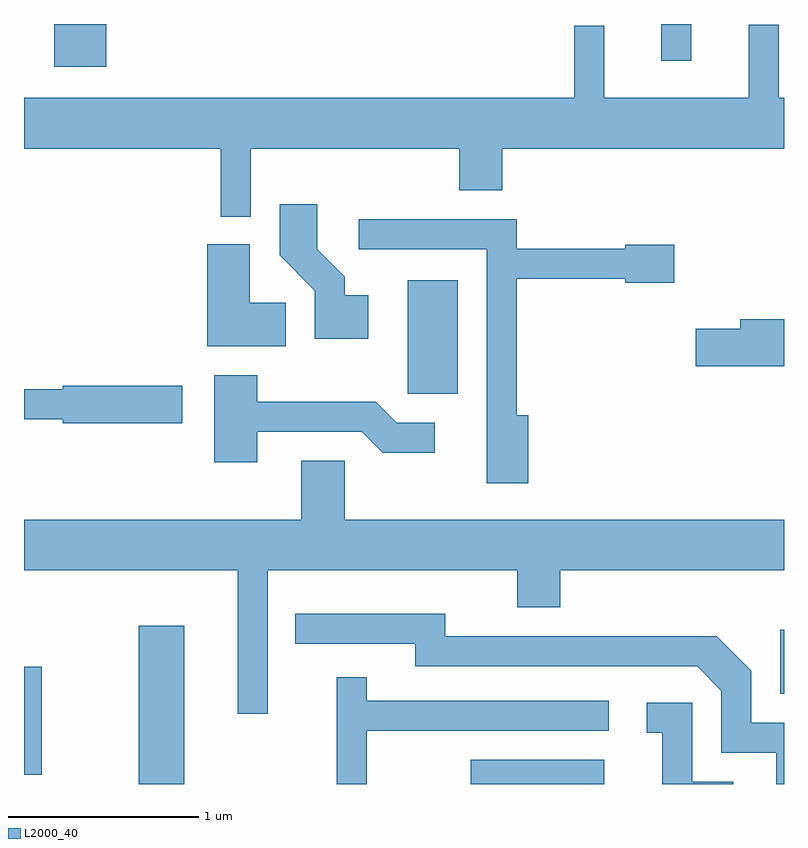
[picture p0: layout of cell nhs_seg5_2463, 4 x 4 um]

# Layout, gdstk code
import gdstk
lib = gdstk.Library(unit=1e-6, precision=1e-09)
def R(c, l, rs):  # rectangles x0, y0, x1, y1
    for r in rs: c.add(gdstk.rectangle(r[:2], r[2:], *l))
def P(c, l, *ps):  # polygons
    for p in ps: c.add(gdstk.Polygon(p, *l))
L2000_40 = (2000, 40)

nhs_seg5_2463 = lib.new_cell('nhs_seg5_2463')
R(nhs_seg5_2463, L2000_40, [(258.216,1500.072,258.454,1500.904), (259.962,1500.072,260.664,1500.199), (257.611,1500.121,257.704,1500.689), (261.591,1500.546,261.611,1500.883), (259.631,1502.126,259.894,1502.724), (257.771,1503.846,258.044,1504.072), (260.966,1503.878,261.124,1504.072)])
P(nhs_seg5_2463, L2000_40, [(258.804,1503.416),(259.901,1503.416),(259.901,1503.196),(260.129,1503.196),(260.129,1503.416),(261.611,1503.416),(261.611,1503.684),(261.584,1503.684),(261.584,1504.068),(261.426,1504.068),(261.426,1503.684),(260.664,1503.684),(260.664,1504.063),(260.506,1504.063),(260.506,1503.684),(257.611,1503.684),(257.611,1503.416),(258.646,1503.416),(258.646,1503.058),(258.804,1503.058)],
  [(259.424,1502.644),(259.299,1502.644),(259.299,1502.742),(259.154,1502.887),(259.154,1503.124),(258.956,1503.124),(258.956,1502.854),(259.141,1502.669),(259.141,1502.416),(259.424,1502.416)],
  [(260.264,1502.014),(260.204,1502.014),(260.204,1502.731),(260.776,1502.731),(260.776,1502.711),(261.034,1502.711),(261.034,1502.909),(260.776,1502.909),(260.776,1502.889),(260.204,1502.889),(260.204,1503.044),(259.373,1503.044),(259.373,1502.886),(260.046,1502.886),(260.046,1501.656),(260.264,1501.656)],
  [(258.989,1502.604),(258.799,1502.604),(258.799,1502.914),(258.576,1502.914),(258.576,1502.376),(258.989,1502.376)],
  [(261.611,1502.519),(261.381,1502.519),(261.381,1502.469),(261.146,1502.469),(261.146,1502.271),(261.611,1502.271)],
  [(258.839,1501.926),(259.389,1501.926),(259.498,1501.816),(259.772,1501.816),(259.772,1501.974),(259.572,1501.974),(259.462,1502.084),(258.839,1502.084),(258.839,1502.224),(258.611,1502.224),(258.611,1501.766),(258.839,1501.766)],
  [(258.444,1502.169),(257.816,1502.169),(257.816,1502.149),(257.611,1502.149),(257.611,1501.991),(257.816,1501.991),(257.816,1501.971),(258.444,1501.971)],
  [(258.894,1501.196),(260.206,1501.196),(260.206,1501.001),(260.434,1501.001),(260.434,1501.196),(261.611,1501.196),(261.611,1501.464),(259.299,1501.464),(259.299,1501.774),(259.071,1501.774),(259.071,1501.464),(257.611,1501.464),(257.611,1501.196),(258.736,1501.196),(258.736,1500.443),(258.894,1500.443)],
  [(261.611,1500.394),(261.439,1500.394),(261.439,1500.667),(261.257,1500.849),(259.829,1500.849),(259.829,1500.969),(259.038,1500.969),(259.038,1500.811),(259.671,1500.811),(259.671,1500.691),(261.154,1500.691),(261.281,1500.564),(261.281,1500.236),(261.571,1500.236),(261.571,1500.072),(261.611,1500.072)],
  [(259.414,1500.351),(260.688,1500.351),(260.688,1500.509),(259.414,1500.509),(259.414,1500.633),(259.256,1500.633),(259.256,1500.072),(259.414,1500.072)],
  [(261.344,1500.084),(261.129,1500.084),(261.129,1500.499),(260.888,1500.499),(260.888,1500.341),(260.971,1500.341),(260.971,1500.072),(261.344,1500.072)])

lib.write_gds('nhs_seg5_2463.gds')
